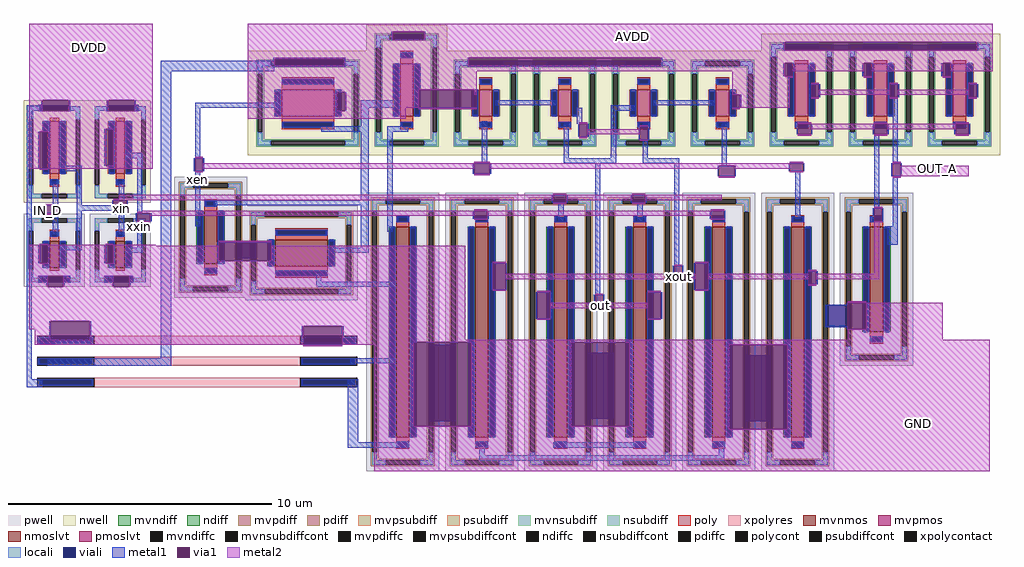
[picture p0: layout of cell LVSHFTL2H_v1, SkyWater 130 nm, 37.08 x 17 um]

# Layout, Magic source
magic
tech sky130A
magscale 1 2
<< nwell >>
rect -3300 2040 -2340 2820
<< viali >>
rect -480 3280 -280 3320
rect 2480 3200 3940 3240
rect -1396 3080 -870 3134
rect 80 3080 1540 3120
rect -3180 2740 -2960 2780
rect -2660 2740 -2440 2780
rect -1680 1620 -1540 1740
rect -3180 1440 -2960 1480
rect -2680 1440 -2480 1480
rect 2800 1100 2960 1260
rect -220 380 -20 960
rect 980 400 1180 900
rect 2180 380 2360 880
<< metal1 >>
rect -510 3280 -500 3340
rect -260 3280 -250 3340
rect -492 3274 -268 3280
rect 2470 3246 2480 3260
rect 2468 3200 2480 3246
rect 3940 3246 3950 3260
rect 3940 3200 3952 3246
rect 2468 3194 3952 3200
rect -1408 3134 -858 3140
rect -1408 3120 -1396 3134
rect -2260 3080 -1396 3120
rect -870 3080 -858 3134
rect 70 3126 80 3140
rect -2260 3074 -858 3080
rect 68 3080 80 3126
rect 1540 3126 1550 3140
rect 1540 3080 1552 3126
rect 68 3074 1552 3080
rect -2260 3040 -1400 3074
rect -3170 2786 -3160 2820
rect -3192 2780 -3160 2786
rect -2960 2786 -2950 2820
rect -2670 2786 -2660 2820
rect -3280 2740 -3180 2780
rect -2960 2740 -2948 2786
rect -3280 700 -3240 2740
rect -3192 2734 -2948 2740
rect -2672 2740 -2660 2786
rect -2460 2786 -2450 2820
rect -2460 2780 -2428 2786
rect -2440 2740 -2428 2780
rect -2672 2734 -2428 2740
rect -3190 2300 -3180 2580
rect -3120 2300 -3110 2580
rect -2690 2320 -2680 2600
rect -2620 2320 -2610 2600
rect -2520 2380 -2400 2420
rect -3020 2280 -2860 2320
rect -3080 2020 -3040 2200
rect -2900 2020 -2860 2280
rect -2580 2060 -2540 2200
rect -2630 2020 -2620 2060
rect -3150 1960 -3140 2020
rect -3040 1960 -3030 2020
rect -2900 2000 -2620 2020
rect -2520 2000 -2510 2060
rect -2900 1980 -2540 2000
rect -3080 1800 -3040 1960
rect -2900 1720 -2860 1980
rect -2580 1800 -2540 1980
rect -2440 1960 -2400 2380
rect -2450 1900 -2440 1960
rect -2340 1900 -2330 1960
rect -3190 1580 -3180 1720
rect -3120 1580 -3110 1720
rect -3020 1680 -2860 1720
rect -2690 1580 -2680 1720
rect -2620 1580 -2610 1720
rect -2440 1700 -2400 1900
rect -2520 1660 -2400 1700
rect -3192 1480 -2948 1486
rect -3192 1440 -3180 1480
rect -2960 1440 -2948 1480
rect -3192 1434 -3120 1440
rect -3130 1400 -3120 1434
rect -3000 1434 -2948 1440
rect -2692 1480 -2468 1486
rect -2692 1440 -2680 1480
rect -2480 1440 -2468 1480
rect -2692 1434 -2620 1440
rect -3000 1400 -2990 1434
rect -2630 1400 -2620 1434
rect -2500 1434 -2468 1440
rect -2500 1400 -2490 1434
rect -3110 1000 -3100 1140
rect -2800 1020 -2790 1140
rect -3060 960 -2800 1000
rect -2260 860 -2180 3040
rect 2470 3000 2480 3100
rect 2540 3000 2550 3100
rect 3070 3000 3080 3100
rect 3140 3000 3150 3100
rect 3670 3000 3680 3100
rect 3740 3000 3750 3100
rect -1380 2800 -1370 2860
rect -2000 2760 -1360 2800
rect -2000 2380 -1960 2760
rect -1380 2740 -1370 2760
rect -930 2740 -920 2880
rect -860 2740 -850 2880
rect -740 2760 -480 2820
rect -310 2760 -300 2900
rect 120 2860 130 2900
rect 140 2760 150 2860
rect 280 2780 740 2820
rect 1480 2780 1940 2820
rect -740 2620 -680 2760
rect -1040 2580 -680 2620
rect -2010 2280 -2000 2380
rect -1940 2280 -1930 2380
rect -2000 1860 -1960 2280
rect -740 2060 -680 2580
rect -1860 2020 -680 2060
rect -1692 1740 -1528 1746
rect -1830 1600 -1820 1740
rect -1420 1600 -1410 1740
rect -740 1700 -680 2020
rect -540 2580 -380 2620
rect -540 1820 -500 2580
rect 180 2340 220 2660
rect 900 2640 940 2760
rect 1160 2740 1340 2780
rect 2070 2760 2080 2860
rect 2140 2760 2150 2860
rect 2670 2840 2680 2940
rect 2740 2840 2750 2940
rect 3270 2840 3280 2940
rect 3340 2840 3350 2940
rect 3870 2840 3880 2940
rect 3940 2840 3950 2940
rect 800 2380 840 2640
rect 910 2540 920 2640
rect 980 2540 990 2640
rect 1160 2380 1200 2740
rect 1400 2620 1440 2640
rect 1370 2520 1380 2620
rect 1440 2520 1450 2620
rect 800 2340 1200 2380
rect 1400 2380 1440 2520
rect 1400 2340 1680 2380
rect 110 2260 120 2340
rect 240 2260 250 2340
rect 710 2040 720 2100
rect 820 2040 830 2100
rect 110 1920 120 1980
rect 220 1920 230 1980
rect 760 1900 800 2040
rect -960 1660 -680 1700
rect -1080 1440 -1040 1500
rect -1080 1400 -480 1440
rect 250 1380 260 1580
rect 360 1380 370 1580
rect 590 1160 600 1360
rect 700 1160 710 1360
rect 1040 1340 1080 2340
rect 1310 2040 1320 2100
rect 1420 2040 1430 2100
rect 1360 1900 1400 2040
rect 1640 1560 1680 2340
rect 2000 2320 2040 2640
rect 2570 2560 2580 2640
rect 2680 2560 2690 2640
rect 3150 2560 3160 2640
rect 3260 2560 3270 2640
rect 1970 2240 1980 2320
rect 2100 2240 2110 2320
rect 2510 2280 2520 2340
rect 2620 2280 2630 2340
rect 1910 1920 1920 1980
rect 2020 1920 2030 1980
rect 2560 1920 2600 2280
rect 3160 2000 3200 2560
rect 3300 2340 3340 2840
rect 3770 2560 3780 2640
rect 3880 2560 3890 2640
rect 3290 2240 3300 2340
rect 3360 2240 3370 2340
rect 3150 1900 3160 2000
rect 3220 1900 3230 2000
rect 3300 1860 3340 2240
rect 3260 1720 3340 1860
rect 1630 1460 1640 1560
rect 1700 1460 1710 1560
rect 1790 1380 1800 1580
rect 1900 1380 1910 1580
rect 2650 1420 2660 1520
rect 2720 1420 2730 1520
rect 1030 1240 1040 1340
rect 1100 1240 1110 1340
rect 1430 1160 1440 1360
rect 1540 1160 1550 1360
rect 2950 1266 2960 1280
rect 2788 1260 2960 1266
rect 2788 1100 2800 1260
rect -1190 960 -1180 1100
rect -880 960 -870 1100
rect 2788 1094 2960 1100
rect 2950 1080 2960 1094
rect 3100 1080 3110 1280
rect -3120 800 -2180 860
rect -820 820 -480 860
rect -3280 640 -3160 700
rect -840 220 -760 700
rect -350 340 -340 980
rect 100 340 110 980
rect 850 340 860 980
rect 1300 340 1310 980
rect 2050 320 2060 960
rect 2500 320 2510 960
rect -840 180 -380 220
rect 160 120 200 200
rect 720 180 1420 220
rect 1980 120 2020 220
rect 160 80 2020 120
<< via1 >>
rect -500 3320 -260 3340
rect -500 3280 -480 3320
rect -480 3280 -280 3320
rect -280 3280 -260 3320
rect 2480 3240 3940 3260
rect 2480 3200 3940 3240
rect -1396 3080 -870 3134
rect 80 3120 1540 3140
rect 80 3080 1540 3120
rect -3160 2780 -2960 2820
rect -3160 2740 -2960 2780
rect -2660 2780 -2460 2820
rect -2660 2740 -2460 2780
rect -3180 2300 -3120 2580
rect -2680 2320 -2620 2600
rect -3140 1960 -3040 2020
rect -2620 2000 -2520 2060
rect -2440 1900 -2340 1960
rect -3180 1580 -3120 1720
rect -2680 1580 -2620 1720
rect -3120 1440 -3000 1480
rect -3120 1400 -3000 1440
rect -2620 1440 -2500 1480
rect -2620 1400 -2500 1440
rect -3100 1000 -2800 1140
rect 2480 3000 2540 3100
rect 3080 3000 3140 3100
rect 3680 3000 3740 3100
rect -920 2740 -860 2880
rect -300 2860 120 2900
rect -300 2760 140 2860
rect -2000 2280 -1940 2380
rect -1820 1620 -1680 1740
rect -1680 1620 -1540 1740
rect -1540 1620 -1420 1740
rect -1820 1600 -1420 1620
rect 2080 2760 2140 2860
rect 2680 2840 2740 2940
rect 3280 2840 3340 2940
rect 3880 2840 3940 2940
rect 920 2540 980 2640
rect 1380 2520 1440 2620
rect 120 2260 240 2340
rect 720 2040 820 2100
rect 120 1920 220 1980
rect 260 1380 360 1580
rect 600 1160 700 1360
rect 1320 2040 1420 2100
rect 2580 2560 2680 2640
rect 3160 2560 3260 2640
rect 1980 2240 2100 2320
rect 2520 2280 2620 2340
rect 1920 1920 2020 1980
rect 3780 2560 3880 2640
rect 3300 2240 3360 2340
rect 3160 1900 3220 2000
rect 1640 1460 1700 1560
rect 1800 1380 1900 1580
rect 2660 1420 2720 1520
rect 1040 1240 1100 1340
rect 1440 1160 1540 1360
rect -1180 960 -880 1100
rect 2960 1080 3100 1280
rect -340 960 100 980
rect -340 380 -220 960
rect -220 380 -20 960
rect -20 380 100 960
rect -340 340 100 380
rect 860 900 1300 980
rect 860 400 980 900
rect 980 400 1180 900
rect 1180 400 1300 900
rect 860 340 1300 400
rect 2060 880 2500 960
rect 2060 380 2180 880
rect 2180 380 2360 880
rect 2360 380 2500 880
rect 2060 320 2500 380
<< metal2 >>
rect -3260 2820 -2320 3400
rect -3260 2740 -3160 2820
rect -2960 2740 -2660 2820
rect -2460 2740 -2320 2820
rect -3260 2600 -2320 2740
rect -1600 3340 4060 3400
rect -1600 3280 -500 3340
rect -260 3280 4060 3340
rect -1600 3260 4060 3280
rect -1600 3200 2480 3260
rect 3940 3200 4060 3260
rect -1600 3140 4060 3200
rect -1600 3134 80 3140
rect -1600 3080 -1396 3134
rect -870 3080 80 3134
rect 1540 3100 4060 3140
rect 1540 3080 2480 3100
rect -1600 3040 2480 3080
rect -1600 2900 140 3040
rect -1600 2880 -300 2900
rect -1600 2740 -920 2880
rect -860 2760 -300 2880
rect 120 2860 140 2900
rect -860 2740 -400 2760
rect -300 2750 140 2760
rect 2080 3000 2480 3040
rect 2540 3040 3080 3100
rect 2080 2990 2540 3000
rect 3140 3040 3680 3100
rect 3080 2990 3140 3000
rect 3740 3040 4060 3100
rect 3680 2990 3740 3000
rect 2080 2860 2520 2990
rect 2140 2760 2520 2860
rect 2680 2940 2740 2950
rect 3280 2940 3340 2950
rect 2740 2860 3280 2900
rect 2680 2830 2740 2840
rect 3880 2940 3940 2950
rect 3340 2860 3880 2900
rect 3280 2830 3340 2840
rect 3880 2830 3940 2840
rect 2080 2750 2140 2760
rect -1600 2680 -400 2740
rect -3260 2580 -2680 2600
rect -3260 2300 -3180 2580
rect -3120 2320 -2680 2580
rect -2620 2320 -2320 2600
rect 920 2640 980 2650
rect 2580 2640 2680 2650
rect 3160 2640 3260 2650
rect 3780 2640 3880 2650
rect 1380 2620 1440 2630
rect 980 2560 1380 2600
rect 920 2530 980 2540
rect 2680 2600 3160 2640
rect 2580 2550 2680 2560
rect 3260 2600 3780 2640
rect 3160 2550 3260 2560
rect 3780 2550 3880 2560
rect 1380 2510 1440 2520
rect -3120 2300 -2320 2320
rect -2000 2380 -1940 2390
rect -3180 2290 -3120 2300
rect 120 2340 240 2350
rect 2520 2340 2620 2350
rect -1940 2300 120 2340
rect -2000 2270 -1940 2280
rect 240 2320 2520 2340
rect 240 2300 1980 2320
rect 120 2250 240 2260
rect 2100 2300 2520 2320
rect 2520 2270 2620 2280
rect 3300 2340 3360 2350
rect 1980 2230 2100 2240
rect 3360 2240 3880 2320
rect 3300 2230 3360 2240
rect 720 2100 820 2110
rect 1320 2100 1420 2110
rect -2580 2070 720 2100
rect -2620 2060 720 2070
rect -3140 2020 -3040 2030
rect 820 2060 1320 2100
rect 720 2030 820 2040
rect 1420 2060 2000 2100
rect 1320 2030 1420 2040
rect -2620 1990 -2520 2000
rect 3160 2000 3220 2010
rect 120 1980 220 1990
rect 1920 1980 2020 1990
rect -2400 1970 120 1980
rect -3140 1950 -3040 1960
rect -2440 1960 120 1970
rect -2340 1940 120 1960
rect 220 1940 1920 1980
rect 120 1910 220 1920
rect 1920 1910 2020 1920
rect -2440 1890 -2340 1900
rect 3160 1890 3220 1900
rect -1820 1740 -1420 1750
rect -3180 1720 -3120 1730
rect -2680 1720 -2620 1730
rect -3260 1580 -3180 1720
rect -3120 1580 -2680 1720
rect -2620 1712 -2300 1720
rect -2620 1600 -1820 1712
rect -1420 1600 54 1712
rect -2620 1580 54 1600
rect -3260 1480 54 1580
rect -3260 1400 -3120 1480
rect -3000 1400 -2620 1480
rect -2500 1400 54 1480
rect -3260 1140 54 1400
rect 260 1580 360 1590
rect 1800 1580 1900 1590
rect 1640 1560 1700 1570
rect 360 1460 1640 1500
rect 1700 1460 1800 1500
rect 1640 1450 1700 1460
rect 260 1370 360 1380
rect 2660 1520 2720 1530
rect 1900 1460 2660 1500
rect 3160 1500 3200 1890
rect 2720 1460 3200 1500
rect 2660 1410 2720 1420
rect 1800 1370 1900 1380
rect 600 1360 700 1370
rect 1440 1360 1540 1370
rect 1040 1340 1100 1350
rect 700 1240 1040 1280
rect 1100 1240 1440 1280
rect 1040 1230 1100 1240
rect 600 1150 700 1160
rect 1440 1150 1540 1160
rect 2960 1280 3100 1290
rect -3260 1080 -3100 1140
rect -3220 1000 -3100 1080
rect -2800 1100 54 1140
rect -2800 1000 -1180 1100
rect -3220 960 -1180 1000
rect -880 1000 54 1100
rect 3100 1080 3680 1280
rect 2960 1000 3680 1080
rect -880 980 4040 1000
rect -880 960 -340 980
rect -1180 950 -880 960
rect -640 340 -340 960
rect 100 340 860 980
rect 1300 960 4040 980
rect 1300 340 2060 960
rect -640 320 2060 340
rect 2500 320 4040 960
rect -640 0 4040 320
use sky130_fd_pr__nfet_01v8_lvt_6LA82X  sky130_fd_pr__nfet_01v8_lvt_6LA82X_0
transform 1 0 -3069 0 1 1679
box -231 -279 231 279
use sky130_fd_pr__pfet_01v8_lvt_73FWD3  sky130_fd_pr__pfet_01v8_lvt_73FWD3_0
transform 1 0 -2569 0 1 2424
box -231 -384 231 384
use sky130_fd_pr__res_xhigh_po_0p35_RZVHSL  sky130_fd_pr__res_xhigh_po_0p35_RZVHSL_0
transform 0 1 -1984 -1 0 675
box -35 -1216 35 1216
use sky130_fd_pr__res_xhigh_po_0p35_RZVHSL  sky130_fd_pr__res_xhigh_po_0p35_RZVHSL_1
transform 0 1 -1984 -1 0 995
box -35 -1216 35 1216
use sky130_fd_pr__nfet_g5v0d10v5_69F5UN  XMNEN0
transform 1 0 -1192 0 1 1658
box -428 -358 428 358
use sky130_fd_pr__nfet_g5v0d10v5_WSEQJ8  XMNEN1
transform 1 0 -1882 0 1 1778
box -278 -458 278 458
use sky130_fd_pr__nfet_g5v0d10v5_YNEQJ5  XMNINM
transform 1 0 778 0 1 1058
box -278 -1058 278 1058
use sky130_fd_pr__nfet_g5v0d10v5_YNEQJ5  XMNINM1
transform 1 0 1378 0 1 1058
box -278 -1058 278 1058
use sky130_fd_pr__nfet_g5v0d10v5_YNEQJ5  XMNINP1
transform 1 0 1978 0 1 1058
box -278 -1058 278 1058
use sky130_fd_pr__nfet_g5v0d10v5_YNEQJ5  XMNINP
transform 1 0 178 0 1 1058
box -278 -1058 278 1058
use sky130_fd_pr__nfet_01v8_lvt_6LA82X  XMNINV0
transform 1 0 -2569 0 1 1679
box -231 -279 231 279
use sky130_fd_pr__nfet_g5v0d10v5_MJGQJ3  XMNO
transform 1 0 3178 0 1 1458
box -278 -658 278 658
use sky130_fd_pr__nfet_g5v0d10v5_YNEQJ5  XMNPWGD
transform 1 0 -422 0 1 1058
box -278 -1058 278 1058
use sky130_fd_pr__nfet_g5v0d10v5_YNEQJ5  XMNXENO
transform 1 0 2578 0 1 1058
box -278 -1058 278 1058
use sky130_fd_pr__pfet_g5v0d10v5_KLD8Y6  XMPEN0
transform 1 0 -392 0 1 2897
box -308 -497 308 497
use sky130_fd_pr__pfet_g5v0d10v5_47NWVV  XMPEN1
transform 1 0 -1142 0 1 2797
box -458 -397 458 397
use sky130_fd_pr__pfet_01v8_lvt_73FWD3  XMPINV0
transform 1 0 -3069 0 1 2424
box -231 -384 231 384
use sky130_fd_pr__pfet_g5v0d10v5_KLAZY6  XMPLM
transform 1 0 1408 0 1 2797
box -308 -397 308 397
use sky130_fd_pr__pfet_g5v0d10v5_KLAZY6  XMPLP
transform 1 0 808 0 1 2797
box -308 -397 308 397
use sky130_fd_pr__pfet_g5v0d10v5_U6Z9Y6  XMPO0
transform 1 0 2608 0 1 2862
box -308 -462 308 462
use sky130_fd_pr__pfet_g5v0d10v5_U6Z9Y6  XMPO1
transform 1 0 3808 0 1 2862
box -308 -462 308 462
use sky130_fd_pr__pfet_g5v0d10v5_U6Z9Y6  XMPO2
transform 1 0 3208 0 1 2862
box -308 -462 308 462
use sky130_fd_pr__pfet_g5v0d10v5_KLAZY6  XMPXENM
transform 1 0 2008 0 1 2797
box -308 -397 308 397
use sky130_fd_pr__pfet_g5v0d10v5_KLAZY6  XMPXENP
transform 1 0 208 0 1 2797
box -308 -397 308 397
use sky130_fd_pr__res_xhigh_po_0p35_RZVHSL  XRPWGD
transform 0 1 -1984 -1 0 835
box -35 -1216 35 1216
<< labels >>
flabel via1 1080 1260 1080 1260 0 FreeSans 480 0 0 0 out
flabel via1 1680 1480 1680 1480 0 FreeSans 480 0 0 0 xout
flabel metal1 -1980 2220 -1980 2220 0 FreeSans 480 0 0 0 xen
flabel metal2 3640 2300 3640 2300 0 FreeSans 1600 0 0 0 OUT_A
port 3 nsew
flabel via1 -3120 1980 -3120 1980 0 FreeSans 1600 0 0 0 IN_D
port 2 nsew
flabel metal1 -2560 2000 -2560 2000 0 FreeSans 480 0 0 0 xin
flabel metal1 -2420 1860 -2420 1860 0 FreeSans 480 0 0 0 xxin
flabel metal2 3500 360 3500 360 0 FreeSans 1600 0 0 0 GND
port 5 nsew
flabel metal2 1320 3300 1320 3300 0 FreeSans 1600 0 0 0 AVDD
port 6 nsew
flabel metal2 -2800 3220 -2800 3220 0 FreeSans 1600 0 0 0 DVDD
port 7 nsew
<< end >>

# cell sky130_fd_pr__nfet_01v8_lvt_6LA82X: kit device sky130_fd_pr__nfet_01v8_lvt, w 1.0 l 0.35 m 1 nf 1 diffcov 100 polycov 100 guard 1 glc 1 grc 1 gtc 1 gbc 1 tbcov 100 rlcov 100 topc 1 botc 0 poverlap 0 doverlap 1 lmin 0.15 wmin 0.42 compatible {sky130_fd_pr__nfet_01v8 sky130_fd_pr__nfet_01v8_lvt sky130_fd_bs_flash__special_sonosfet_star sky130_fd_pr__nfet_g5v0d10v5 sky130_fd_pr__nfet_05v0_nvt sky130_fd_pr__nfet_03v3_nvt} full_metal 1 viasrc 100 viadrn 100 viagate 100 viagb 0 viagr 0 viagl 0 viagt 0

# cell sky130_fd_pr__pfet_01v8_lvt_73FWD3: kit device sky130_fd_pr__pfet_01v8_lvt, w 2.0 l 0.35 m 1 nf 1 diffcov 100 polycov 100 guard 1 glc 1 grc 1 gtc 1 gbc 1 tbcov 100 rlcov 100 topc 0 botc 1 poverlap 0 doverlap 1 lmin 0.35 wmin 0.42 compatible {sky130_fd_pr__pfet_01v8 sky130_fd_pr__pfet_01v8_lvt sky130_fd_pr__pfet_01v8_hvt sky130_fd_pr__pfet_g5v0d10v5} full_metal 1 viasrc 100 viadrn 100 viagate 100 viagb 0 viagr 0 viagl 0 viagt 0

# cell sky130_fd_pr__res_xhigh_po_0p35_RZVHSL: kit device sky130_fd_pr__res_xhigh_po_0p35, w 0.350 l 8.0 m 1 nx 1 wmin 0.350 lmin 0.50 rho 2000 val 46.789k dummy 0 dw 0.0 term 188.2 sterm 0.0 caplen 0 wmax 0.350 guard 0 glc 1 grc 1 gtc 1 gbc 1 compatible {sky130_fd_pr__res_xhigh_po_0p35 sky130_fd_pr__res_xhigh_po_0p69 sky130_fd_pr__res_xhigh_po_1p41 sky130_fd_pr__res_xhigh_po_2p85 sky130_fd_pr__res_xhigh_po_5p73} snake 0 full_metal 1 n_guard 0 hv_guard 0 vias 1 viagb 0 viagt 0 viagl 0 viagr 0

# cell sky130_fd_pr__nfet_g5v0d10v5_69F5UN: kit device sky130_fd_pr__nfet_g5v0d10v5, w 1.0 l 2.0 m 1 nf 1 diffcov 100 polycov 100 guard 1 glc 1 grc 1 gtc 1 gbc 1 tbcov 100 rlcov 100 topc 1 botc 1 poverlap 0 doverlap 1 lmin 0.50 wmin 0.42 compatible {sky130_fd_pr__nfet_01v8 sky130_fd_pr__nfet_01v8_lvt sky130_fd_bs_flash__special_sonosfet_star sky130_fd_pr__nfet_g5v0d10v5 sky130_fd_pr__nfet_05v0_nvt sky130_fd_pr__nfet_03v3_nvt} full_metal 1 viasrc 100 viadrn 100 viagate 100 viagb 0 viagr 0 viagl 0 viagt 0

# cell sky130_fd_pr__nfet_g5v0d10v5_WSEQJ8: kit device sky130_fd_pr__nfet_g5v0d10v5, w 2.0 l 0.5 m 1 nf 1 diffcov 100 polycov 100 guard 1 glc 1 grc 1 gtc 1 gbc 1 tbcov 100 rlcov 100 topc 1 botc 1 poverlap 0 doverlap 1 lmin 0.50 wmin 0.42 compatible {sky130_fd_pr__nfet_01v8 sky130_fd_pr__nfet_01v8_lvt sky130_fd_bs_flash__special_sonosfet_star sky130_fd_pr__nfet_g5v0d10v5 sky130_fd_pr__nfet_05v0_nvt sky130_fd_pr__nfet_03v3_nvt} full_metal 1 viasrc 100 viadrn 100 viagate 100 viagb 0 viagr 0 viagl 0 viagt 0

# cell sky130_fd_pr__nfet_g5v0d10v5_YNEQJ5: kit device sky130_fd_pr__nfet_g5v0d10v5, w 8.0 l 0.5 m 1 nf 1 diffcov 100 polycov 100 guard 1 glc 1 grc 1 gtc 1 gbc 1 tbcov 100 rlcov 100 topc 1 botc 1 poverlap 0 doverlap 1 lmin 0.50 wmin 0.42 compatible {sky130_fd_pr__nfet_01v8 sky130_fd_pr__nfet_01v8_lvt sky130_fd_bs_flash__special_sonosfet_star sky130_fd_pr__nfet_g5v0d10v5 sky130_fd_pr__nfet_05v0_nvt sky130_fd_pr__nfet_03v3_nvt} full_metal 1 viasrc 100 viadrn 100 viagate 100 viagb 0 viagr 0 viagl 0 viagt 0

# cell sky130_fd_pr__nfet_g5v0d10v5_MJGQJ3: kit device sky130_fd_pr__nfet_g5v0d10v5, w 4.0 l 0.5 m 1 nf 1 diffcov 100 polycov 100 guard 1 glc 1 grc 1 gtc 1 gbc 1 tbcov 100 rlcov 100 topc 1 botc 1 poverlap 0 doverlap 1 lmin 0.50 wmin 0.42 compatible {sky130_fd_pr__nfet_01v8 sky130_fd_pr__nfet_01v8_lvt sky130_fd_bs_flash__special_sonosfet_star sky130_fd_pr__nfet_g5v0d10v5 sky130_fd_pr__nfet_05v0_nvt sky130_fd_pr__nfet_03v3_nvt} full_metal 1 viasrc 100 viadrn 100 viagate 100 viagb 0 viagr 0 viagl 0 viagt 0

# cell sky130_fd_pr__pfet_g5v0d10v5_KLD8Y6: kit device sky130_fd_pr__pfet_g5v0d10v5, w 2.0 l 0.5 m 1 nf 1 diffcov 100 polycov 100 guard 1 glc 1 grc 1 gtc 1 gbc 1 tbcov 100 rlcov 100 topc 1 botc 1 poverlap 0 doverlap 1 lmin 0.50 wmin 0.42 compatible {sky130_fd_pr__pfet_01v8 sky130_fd_pr__pfet_01v8_lvt sky130_fd_pr__pfet_01v8_hvt sky130_fd_pr__pfet_g5v0d10v5} full_metal 1 viasrc 100 viadrn 100 viagate 100 viagb 0 viagr 0 viagl 0 viagt 0

# cell sky130_fd_pr__pfet_g5v0d10v5_47NWVV: kit device sky130_fd_pr__pfet_g5v0d10v5, w 1.0 l 2.0 m 1 nf 1 diffcov 100 polycov 100 guard 1 glc 1 grc 1 gtc 1 gbc 1 tbcov 100 rlcov 100 topc 1 botc 1 poverlap 0 doverlap 1 lmin 0.50 wmin 0.42 compatible {sky130_fd_pr__pfet_01v8 sky130_fd_pr__pfet_01v8_lvt sky130_fd_pr__pfet_01v8_hvt sky130_fd_pr__pfet_g5v0d10v5} full_metal 1 viasrc 100 viadrn 100 viagate 100 viagb 0 viagr 0 viagl 0 viagt 0

# cell sky130_fd_pr__pfet_g5v0d10v5_KLAZY6: kit device sky130_fd_pr__pfet_g5v0d10v5, w 1.0 l 0.5 m 1 nf 1 diffcov 100 polycov 100 guard 1 glc 1 grc 1 gtc 1 gbc 1 tbcov 100 rlcov 100 topc 1 botc 1 poverlap 0 doverlap 1 lmin 0.50 wmin 0.42 compatible {sky130_fd_pr__pfet_01v8 sky130_fd_pr__pfet_01v8_lvt sky130_fd_pr__pfet_01v8_hvt sky130_fd_pr__pfet_g5v0d10v5} full_metal 1 viasrc 100 viadrn 100 viagate 100 viagb 0 viagr 0 viagl 0 viagt 0

# cell sky130_fd_pr__pfet_g5v0d10v5_U6Z9Y6: kit device sky130_fd_pr__pfet_g5v0d10v5, w 2.0 l 0.5 m 1 nf 1 diffcov 100 polycov 100 guard 1 glc 1 grc 1 gtc 1 gbc 1 tbcov 100 rlcov 100 topc 0 botc 1 poverlap 0 doverlap 1 lmin 0.50 wmin 0.42 compatible {sky130_fd_pr__pfet_01v8 sky130_fd_pr__pfet_01v8_lvt sky130_fd_pr__pfet_01v8_hvt sky130_fd_pr__pfet_g5v0d10v5} full_metal 1 viasrc 100 viadrn 100 viagate 100 viagb 0 viagr 0 viagl 0 viagt 0
